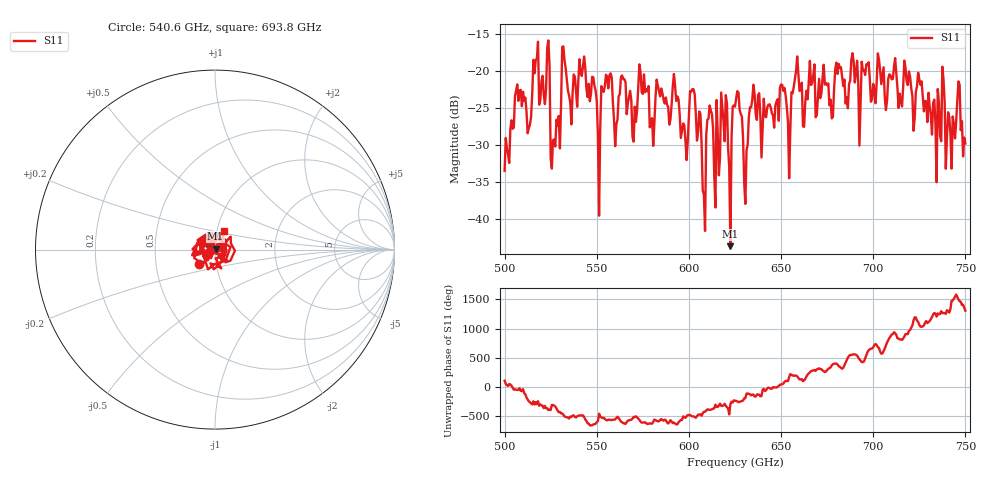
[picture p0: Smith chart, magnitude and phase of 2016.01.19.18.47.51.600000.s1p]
!Created with skrf (http://scikit-rf.org).
# GHz S RI R 50.0
!freq ReS11 ImS11
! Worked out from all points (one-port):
!   401 points, 500 GHz to 750 GHz, reference 50 ohm
!   lowest |S11| = -43.6 dB at 622.5 GHz (marker M1), VSWR 1.01, Z = 50.3 + j0.588 ohm
!   |S11| at or under -10 dB: start of sweep to end of sweep
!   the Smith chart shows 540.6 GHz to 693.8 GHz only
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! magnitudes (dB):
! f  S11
! 500 GHz  -33.5
! 506.9 GHz  -21.8
! 513.8 GHz  -27.3
! 516.9 GHz  -18.5
! 523.1 GHz  -16.9
! 526.2 GHz  -29.4
! 531.2 GHz  -16.8
! 542.5 GHz  -19.4
! 550.6 GHz  -28.8
! 553.8 GHz  -22.8
! 562.5 GHz  -23.2
! 593.8 GHz  -23.5
! 598.1 GHz  -29.5
! 601.9 GHz  -22.5
! 608.1 GHz  -36.7
! 611.2 GHz  -24.7
! 615 GHz  -23.9
! 619.4 GHz  -29.5
! 622.5 GHz  -43.6
! 625 GHz  -24.8
! 630.6 GHz  -37.9
! 634.4 GHz  -23.9
! 656.2 GHz  -23.0
! 687.5 GHz  -21.3
! 718.8 GHz  -21.9
! 733.1 GHz  -23.9
! 746.9 GHz  -21.9
! 750 GHz  -29.8
